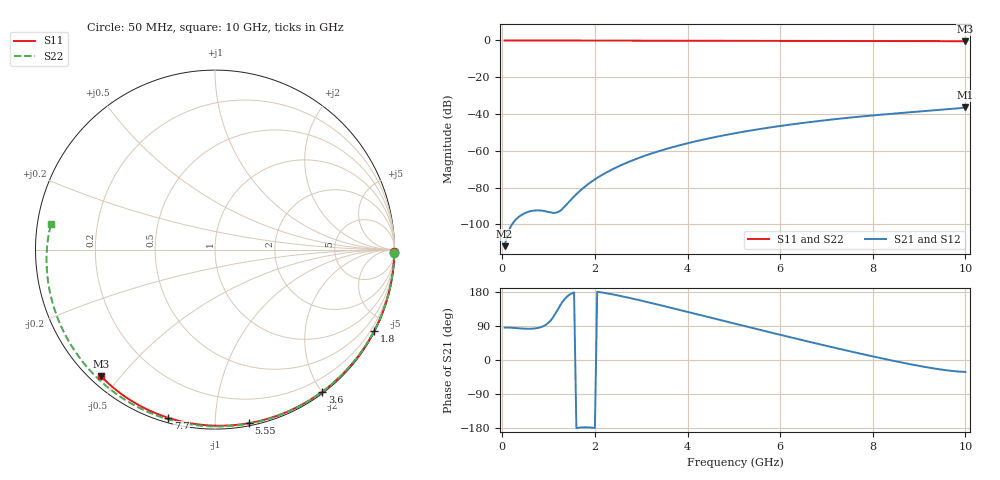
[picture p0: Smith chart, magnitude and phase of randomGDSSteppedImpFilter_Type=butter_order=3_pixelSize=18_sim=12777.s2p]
! freq	dB(S11)	phase(S11)	dB(S12)	phase(S12)
!  dB(S21)	phase(S21)	dB(S22)	phase(S22)
!S-par simulation data
#  GHz  S  DB  R 50
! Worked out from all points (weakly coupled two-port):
!   200 points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, 50 MHz to 10 GHz, reference 50 ohm
!   highest |S21| = -36.44 dB at 10 GHz (marker M1); lowest = -111.8 dB at 50 MHz (marker M2)
!   lowest |S11| = -0.4 dB at 10 GHz (marker M3), VSWR 38.63, Z = 1.55 - j22.3 ohm
!   |S11| at or under -10 dB: nowhere
!   |S22| runs from -0.7 to 0.0 dB; largest |S21 - S12| = 0
!   S11 on the Smith chart (normalised r, x): 50 MHz: open; 1.8 GHz: 0.04, -4.16; 3.6 GHz: 0.02, -2.01; 5.55 GHz: 0.02, -1.21; 7.7 GHz: 0.02, -0.76; 10 GHz: 0.03, -0.45
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0.05  -0.00 -0.8  -111.82 85.7  -111.82 85.7  -0.01 -1.1
0.45  -0.01 -6.8  -94.34 82.9  -94.34 82.9  -0.01 -9.7
0.85  -0.02 -12.9  -92.51 87.4  -92.51 87.4  -0.02 -18.2
1.3  -0.02 -19.6  -91.49 153.4  -91.49 153.4  -0.03 -27.7
1.75  -0.03 -26.3  -80.16 -177.7  -80.16 -177.7  -0.05 -37.1
1.8  -0.03 -27.0  -79.14 -177.6  -79.14 -177.6  -0.05 -38.1
2.1  -0.04 -31.5  -73.91 179.1  -73.91 179.1  -0.06 -44.2
2.5  -0.05 -37.3  -68.55 170.3  -68.55 170.3  -0.07 -52.3
2.9  -0.06 -43.0  -64.31 159.5  -64.31 159.5  -0.08 -60.2
3.4  -0.07 -50.1  -60.03 145.0  -60.03 145.0  -0.09 -69.9
3.6  -0.07 -52.9  -58.55 139.0  -58.55 139.0  -0.10 -73.8
4.3  -0.09 -62.5  -54.11 117.8  -54.11 117.8  -0.12 -86.8
5.05  -0.11 -72.5  -50.32 95.0  -50.32 95.0  -0.15 -100.4
5.55  -0.13 -79.0  -48.19 79.9  -48.19 79.9  -0.18 -109.2
6.1  -0.15 -86.0  -46.14 63.5  -46.14 63.5  -0.21 -118.7
6.7  -0.18 -93.4  -44.19 45.9  -44.19 45.9  -0.25 -128.9
7.7  -0.24 -105.4  -41.46 17.6  -41.46 17.6  -0.33 -145.9
8.35  -0.29 -113.1  -39.98 0.3  -39.98 0.3  -0.39 -157.2
8.8  -0.33 -118.3  -39.05 -10.9  -39.05 -10.9  -0.45 -165.2
9.25  -0.37 -123.4  -38.17 -20.9  -38.17 -20.9  -0.51 -173.5
9.65  -0.41 -127.9  -37.35 -28.0  -37.35 -28.0  -0.58 178.6
10  -0.45 -131.9  -36.44 -31.5  -36.44 -31.5  -0.68 171.0
